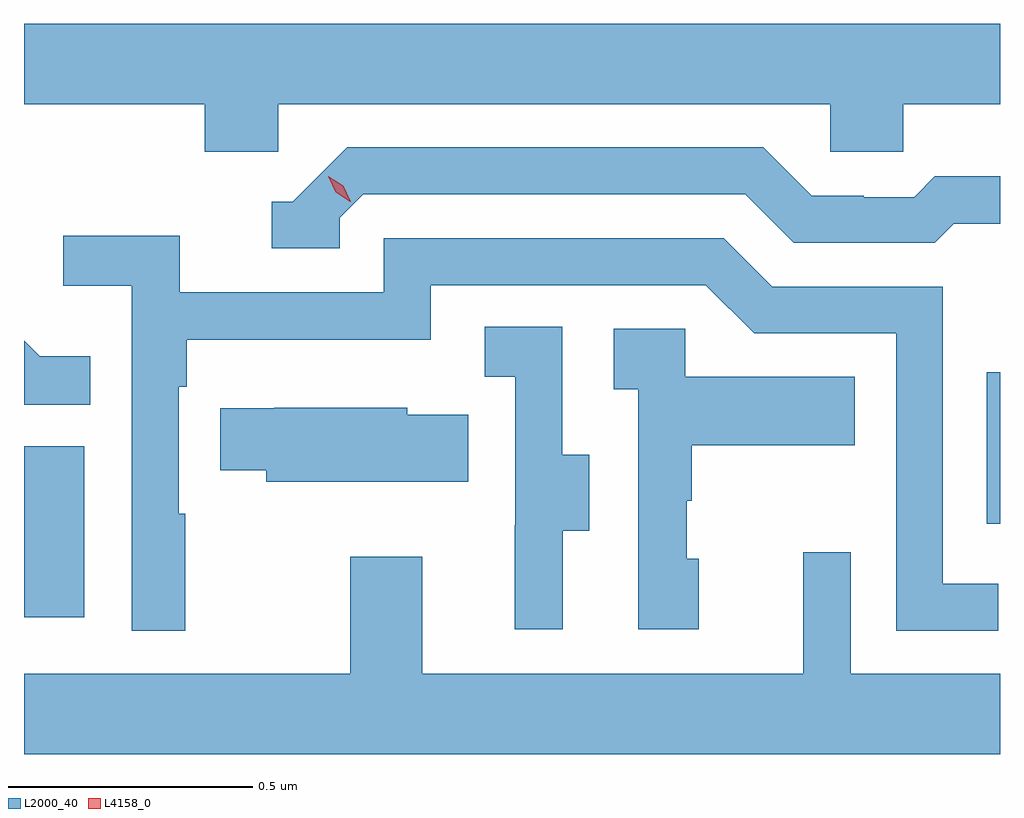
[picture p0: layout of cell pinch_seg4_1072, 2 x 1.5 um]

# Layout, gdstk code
import gdstk
lib = gdstk.Library(unit=1e-6, precision=1e-09)
def R(c, l, rs):  # rectangles x0, y0, x1, y1
    for r in rs: c.add(gdstk.rectangle(r[:2], r[2:], *l))
def P(c, l, *ps):  # polygons
    for p in ps: c.add(gdstk.Polygon(p, *l))
L2000_40 = (2000, 40)
L4158_0 = (4158, 0)

pinch_seg4_1072 = lib.new_cell('pinch_seg4_1072')
R(pinch_seg4_1072, L2000_40, [(855.355,755.808,855.478,756.159), (857.328,756,857.355,756.31)])
P(pinch_seg4_1072, L2000_40, [(855.876,756.86),(857.007,756.86),(857.007,756.762),(857.157,756.762),(857.157,756.86),(857.355,756.86),(857.355,757.024),(855.355,757.024),(855.355,756.86),(855.725,756.86),(855.725,756.762),(855.876,756.762)],
  [(856.002,756.627),(856.05,756.675),(856.833,756.675),(856.932,756.576),(857.221,756.576),(857.26,756.615),(857.355,756.615),(857.355,756.712),(857.221,756.712),(857.179,756.669),(857.076,756.669),(857.076,756.672),(856.969,756.672),(856.87,756.771),(856.017,756.771),(855.906,756.66),(855.863,756.66),(855.863,756.564),(856.002,756.564)],
  [(855.685,756.02),(855.672,756.02),(855.672,756.281),(855.689,756.281),(855.689,756.377),(856.188,756.377),(856.188,756.489),(856.752,756.489),(856.851,756.39),(857.142,756.39),(857.142,755.781),(857.351,755.781),(857.351,755.877),(857.238,755.877),(857.238,756.486),(856.888,756.486),(856.789,756.585),(856.092,756.585),(856.092,756.474),(855.674,756.474),(855.674,756.59),(855.435,756.59),(855.435,756.488),(855.576,756.488),(855.576,755.781),(855.685,755.781)],
  [(856.459,755.986),(856.513,755.986),(856.513,756.141),(856.458,756.141),(856.458,756.404),(856.299,756.404),(856.299,756.301),(856.362,756.301),(856.362,755.997),(856.361,755.997),(856.361,755.784),(856.459,755.784)],
  [(856.738,755.928),(856.713,755.928),(856.713,756.047),(856.723,756.047),(856.723,756.161),(857.057,756.161),(857.057,756.301),(856.71,756.301),(856.71,756.399),(856.563,756.399),(856.563,756.275),(856.614,756.275),(856.614,755.784),(856.738,755.784)],
  [(855.491,756.343),(855.387,756.343),(855.355,756.375),(855.355,756.244),(855.491,756.244)],
  [(856.265,756.223),(856.14,756.223),(856.14,756.238),(855.868,756.238),(855.868,756.237),(855.757,756.237),(855.757,756.109),(855.851,756.109),(855.851,756.086),(856.265,756.086)],
  [(857.355,755.692),(857.049,755.692),(857.049,755.941),(856.952,755.941),(856.952,755.692),(856.171,755.692),(856.171,755.932),(856.024,755.932),(856.024,755.692),(855.355,755.692),(855.355,755.528),(857.355,755.528)])
P(pinch_seg4_1072, L4158_0, [(856.024,756.66),(855.994,756.679),(855.978,756.712),(855.978,756.712),(855.978,756.712),(856.009,756.693),(856.025,756.66),(856.025,756.66)])

lib.write_gds('pinch_seg4_1072.gds')
